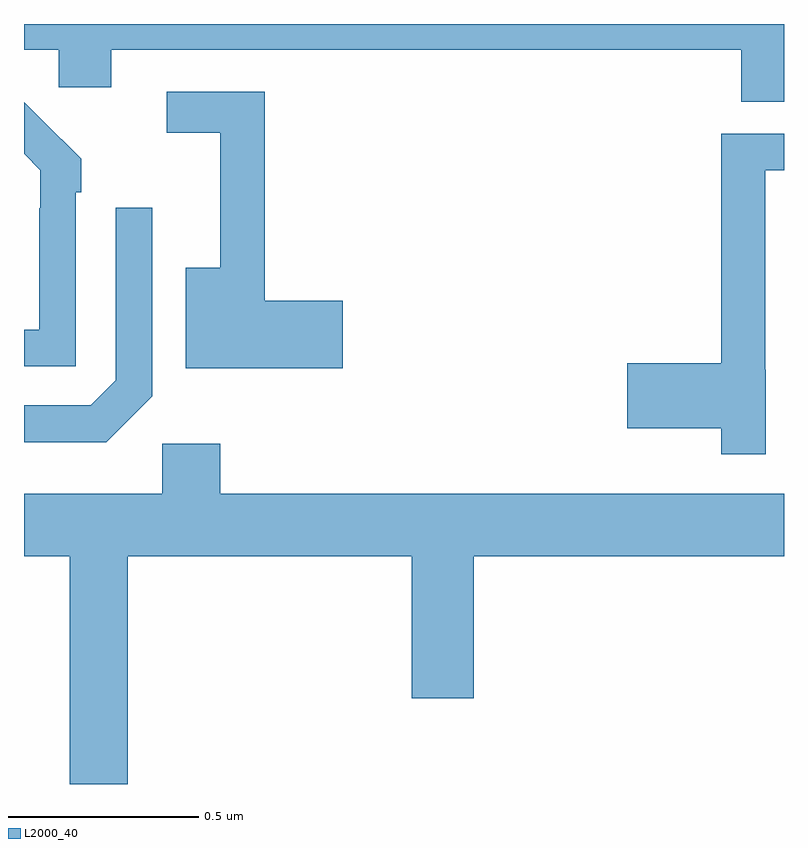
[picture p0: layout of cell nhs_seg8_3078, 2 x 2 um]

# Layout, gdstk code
import gdstk
lib = gdstk.Library(unit=1e-6, precision=1e-09)
def P(c, l, *ps):  # polygons
    for p in ps: c.add(gdstk.Polygon(p, *l))
L2000_40 = (2000, 40)

nhs_seg8_3078 = lib.new_cell('nhs_seg8_3078')
P(nhs_seg8_3078, L2000_40, [(154,1117.9),(152,1117.9),(152,1117.832),(152.091,1117.832),(152.091,1117.734),(152.23,1117.734),(152.23,1117.832),(153.887,1117.832),(153.887,1117.696),(154,1117.696)],
  [(152.839,1117.172),(152.633,1117.172),(152.633,1117.722),(152.376,1117.722),(152.376,1117.614),(152.516,1117.614),(152.516,1117.258),(152.426,1117.258),(152.426,1116.994),(152.839,1116.994)],
  [(152.136,1117.457),(152.151,1117.457),(152.151,1117.545),(152.046,1117.65),(152.045,1117.649),(152,1117.694),(152,1117.558),(152.043,1117.515),(152.043,1117.415),(152.04,1117.415),(152.04,1117.095),(152,1117.095),(152,1116.999),(152.136,1116.999)],
  [(153.952,1116.99),(153.951,1116.99),(153.951,1117.515),(154,1117.515),(154,1117.611),(153.835,1117.611),(153.835,1117.007),(153.588,1117.007),(153.588,1116.836),(153.835,1116.836),(153.835,1116.768),(153.952,1116.768)],
  [(152.337,1116.921),(152.337,1117.417),(152.241,1117.417),(152.241,1116.963),(152.175,1116.897),(152,1116.897),(152,1116.8),(152.216,1116.8)],
  [(152.273,1116.5),(153.02,1116.5),(153.02,1116.126),(153.184,1116.126),(153.184,1116.5),(154,1116.5),(154,1116.664),(152.516,1116.664),(152.516,1116.796),(152.364,1116.796),(152.364,1116.664),(152,1116.664),(152,1116.5),(152.12,1116.5),(152.12,1115.9),(152.273,1115.9)])

lib.write_gds('nhs_seg8_3078.gds')
